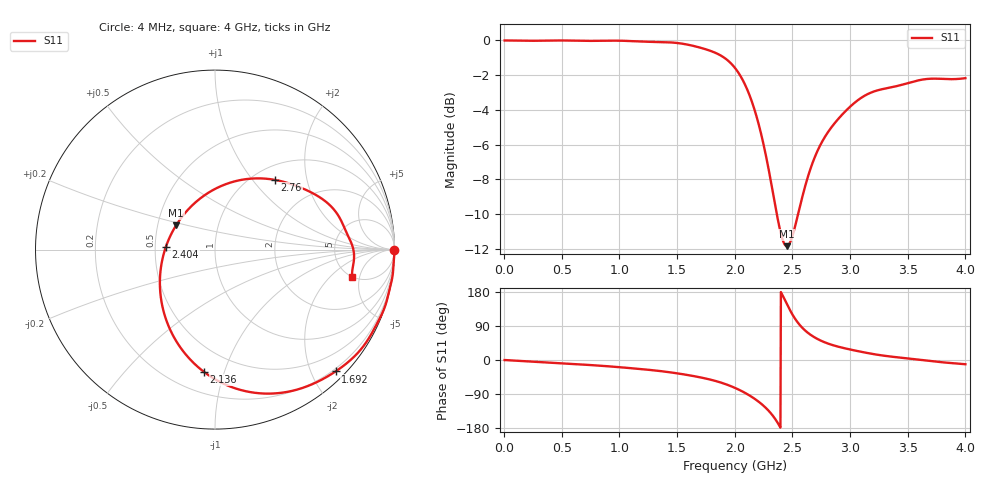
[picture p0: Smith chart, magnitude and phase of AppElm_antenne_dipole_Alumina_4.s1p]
! TOUCHSTONE file generated by CST MICROWAVE STUDIO
! Date and time: Sat May 14 12:00:58 2022
! Project name: AppElm_antenne_dipole_Alumina.cst
! Parameters = {L=33; e=0.035; f=2.45e+09; h=1.6; i=0.8; l1=2; lambda=122.449; ls=27; wl=1.7; ws=80}
! Header version: 2018
! Port assignment regex: !\s*Touchstone port\s*([0-9]+)\s*=\s*(CST MWS port|CST DS port)\s*([0-9]+|Zmin|Zmax)\s*\(\"(.*)\"\)(\s*mode\s*([0-9]+))?.*
! Touchstone port assignment:
! Touchstone port 1 = CST MWS port 1 ("")
# GHz S MA R 50
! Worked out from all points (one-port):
!   1000 points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, 4 MHz to 4 GHz, reference 50 ohm
!   lowest |S11| = -11.9 dB at 2.452 GHz (marker M1), VSWR 1.69, Z = 31.2 + j9.09 ohm
!   |S11| at or under -10 dB: 2.364 GHz to 2.549 GHz (184.9 MHz wide, 7.53 % of centre)
!   S11 on the Smith chart (normalised r, x): 4 MHz: open; 1.692 GHz: 0.15, -2.39; 2.136 GHz: 0.33, -0.86; 2.404 GHz: 0.57, +0.02; 2.76 GHz: 1.24, +1.31; 4 GHz: 5.01, -3.84
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0.004  1 -0.1
0.504  1 -8.7
1.004  0.9984 -19.1
1.32  0.9902 -28.0
1.504  0.983 -35.4
1.692  0.955 -45.3
1.784  0.9346 -51.4
1.86  0.9119 -57.7
1.932  0.8801 -65.0
2.004  0.8316 -73.9
2.072  0.7657 -83.9
2.136  0.6842 -95.1
2.212  0.5658 -111.2
2.276  0.4558 -128.4
2.34  0.3505 -151.1
2.404  0.2744 177.0
2.452  0.2555 147.8
2.504  0.2761 118.0
2.56  0.3271 93.7
2.62  0.3903 75.3
2.684  0.4524 61.2
2.76  0.5127 49.2
2.864  0.5764 37.9
3.004  0.6461 27.5
3.204  0.7123 15.5
3.504  0.754 4.1
3.684  0.7754 -2.3
4  0.7786 -11.2
